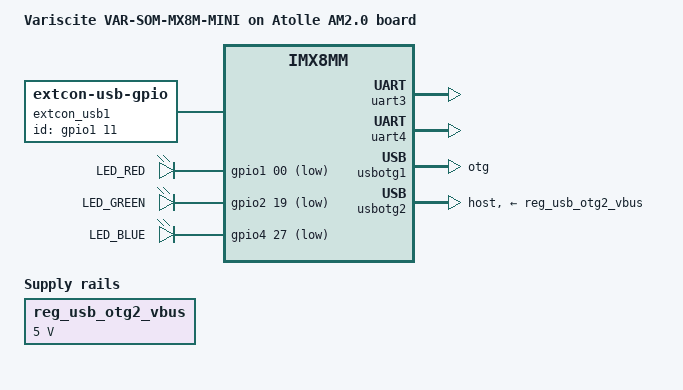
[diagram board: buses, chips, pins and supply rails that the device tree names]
// SPDX-License-Identifier: (GPL-2.0+ OR MIT)
/*
 * Copyright 2019 NXP
 * Copyright 2019-2020 Variscite Ltd.
 */

/dts-v1/;

#include <dt-bindings/usb/pd.h>
#include "imx8mm-var-som.dtsi"

/ {
	model = "Variscite VAR-SOM-MX8M-MINI on Atolle AM2.0 board";
	compatible = "variscite,dart-mx8mm", "fsl,imx8mm";

	chosen {
		stdout-path = &uart4;
	};

	reg_usb_otg2_vbus: regulator-usb-otg2-vbus {
		compatible = "regulator-fixed";
		regulator-name = "usb_otg2_vbus";
		regulator-min-microvolt = <5000000>;
		regulator-max-microvolt = <5000000>;
	};

	extcon_usb1: extcon_usb1 {
		compatible = "linux,extcon-usb-gpio";
		pinctrl-names = "default";
		pinctrl-0 = <&pinctrl_extcon>;
		id-gpio = <&gpio1 11 GPIO_ACTIVE_HIGH>;
		status = "okay";
	};

	leds {
		compatible = "gpio-leds";
		status = "okay";

		led_red {
			label = "LED_RED";
			gpios = <&gpio1 00 GPIO_ACTIVE_LOW>;
			default-state = "off";
		};

		led_green {
			label = "LED_GREEN";
			gpios = <&gpio2 19 GPIO_ACTIVE_LOW>;
			default-state = "on";
		};

		led_blue {
			label = "LED_BLUE";
			gpios = <&gpio4 27 GPIO_ACTIVE_LOW>;
			default-state = "on";
		};
	};

	a53_opp_table: opp-table {
                opp-600000000 {
                        opp-hz = /bits/ 64 <600000000>;
                        opp-microvolt = <850000>;
                        opp-supported-hw = <0xe>, <0x7>;
                        clock-latency-ns = <150000>;
                        opp-suspend;
                };

                opp-800000000 {
                        opp-hz = /bits/ 64 <800000000>;
                        opp-microvolt = <850000>;
                        opp-supported-hw = <0xe>, <0x7>;
                        clock-latency-ns = <150000>;
                        opp-suspend;
                };

                opp-1000000000 {
                        opp-hz = /bits/ 64 <1000000000>;
                        opp-microvolt = <850000>;
                        opp-supported-hw = <0xe>, <0x7>;
                        clock-latency-ns = <150000>;
                        opp-suspend;
                };

                opp-1400000000 {
                        opp-hz = /bits/ 64 <1400000000>;
                        opp-microvolt = <850000>;
                        opp-supported-hw = <0xe>, <0x7>;
                        clock-latency-ns = <150000>;
                        opp-suspend;
                };
        };

	/delete-node/ thermal-zones;

	thermal-zones {
		cpu-thermal {
			polling-delay-passive = <250>;
			polling-delay = <2000>;
			thermal-sensors = <&tmu>;
			trips {
				cpu_alert0: trip0 {
					temperature = <79000>;
					hysteresis = <2000>;
					type = "passive";
				};
		
				cpu_alert1: trip1 {
					temperature = <82000>;
					hysteresis = <2000>;
					type = "passive";
				};
		
				cpu_alert2: trip2 {
					temperature = <85000>;
					hysteresis = <2000>;
					type = "passive";
				};
		
				cpu_alert3: trip3 {
					temperature = <88000>;
					hysteresis = <2000>;
					type = "passive";
				};
		
				cpu_alert4: trip4 {
					temperature = <91000>;
					hysteresis = <2000>;
					type = "passive";
				};
		
				cpu_crit0: trip5 {
					temperature = <95000>;
					hysteresis = <2000>;
					type = "critical";
				};
			};
		
			cooling-maps {
			/* We have 7 OPPs of: 600MHz, 800MHz, 1GHz, 1.2GHz, 1.4GHz, 1.6GHz and 1.8GHz.
			   Minimum cooling state (0) includes all operating points, the maximum cooling
			   state (6) only includes the lowest operating point (600 MHz).
			*/
				map0 {
					// 79C trip: max OPP is at 1.6GHz (1)
					trip = <&cpu_alert0>;
					cooling-device =
						<&A53_0 THERMAL_NO_LIMIT 1>,
						<&A53_1 THERMAL_NO_LIMIT 1>,
						<&A53_2 THERMAL_NO_LIMIT 1>,
						<&A53_3 THERMAL_NO_LIMIT 1>;
				};
		
				map1 {
					// 82C trip: max OPP is at 1.2 GHz (3)
					trip = <&cpu_alert1>;
					cooling-device =
						<&A53_0 THERMAL_NO_LIMIT 3>,
						<&A53_1 THERMAL_NO_LIMIT 3>,
						<&A53_2 THERMAL_NO_LIMIT 3>,
						<&A53_3 THERMAL_NO_LIMIT 3>;
				};
				map2 {
					// 85C trip: max OPP is at 1.0GHz (4)
					trip = <&cpu_alert2>;
					cooling-device =
						<&A53_0 THERMAL_NO_LIMIT 4>,
						<&A53_1 THERMAL_NO_LIMIT 4>,
						<&A53_2 THERMAL_NO_LIMIT 4>,
						<&A53_3 THERMAL_NO_LIMIT 4>;
				};
				map3 {
					// 88C trip: max OPP is at 800 MHz (5)
					trip = <&cpu_alert3>;
					cooling-device =
						<&A53_0 THERMAL_NO_LIMIT 5>,
						<&A53_1 THERMAL_NO_LIMIT 5>,
						<&A53_2 THERMAL_NO_LIMIT 5>,
						<&A53_3 THERMAL_NO_LIMIT 5>;
				};
				map4 {
					// 91C trip: max OPP is at 600MHz (6)
					trip = <&cpu_alert4>;
					cooling-device =
						<&A53_0 THERMAL_NO_LIMIT 6>,
						<&A53_1 THERMAL_NO_LIMIT 6>,
						<&A53_2 THERMAL_NO_LIMIT 6>,
						<&A53_3 THERMAL_NO_LIMIT 6>;
				};
			};
		};
	};

};

&iomuxc {
	pinctrl_led: led_pin {
		/* Definition of the GPIOs connected to the LEDs on the adapter board,
		 for full overview of the description of the register values see the 
		 iMX8M Reference Manual. */
		fsl,pins = <
			/* Enable the pull resistor (bit 8) and set it to a
			 pull down (bit 6) */
			MX8MM_IOMUXC_GPIO1_IO00_GPIO1_IO0		0x100
			MX8MM_IOMUXC_SD2_RESET_B_GPIO2_IO19		0x100
			MX8MM_IOMUXC_SAI2_MCLK_GPIO4_IO27		0x100
		>;
	};

	pinctrl_imxrt_reset_n: imxrt_reset {
		fsl,pins = <
			/* Enable pull resistor (8) and set tp pull up (6) */
			MX8MM_IOMUXC_SAI3_TXD_GPIO5_IO1			0x140
    	>;
    };

	pinctrl_uart3: uart3grp {
		fsl,pins = <
			MX8MM_IOMUXC_UART3_RXD_UART3_DTE_TX		0x140
			MX8MM_IOMUXC_UART3_TXD_UART3_DTE_RX		0x140
		>;
	};

	pinctrl_uart4: uart4grp {
		fsl,pins = <
			MX8MM_IOMUXC_UART4_RXD_UART4_DCE_RX		0x140
			MX8MM_IOMUXC_UART4_TXD_UART4_DCE_TX		0x140
		>;
	};

	pinctrl_extcon: extcongrp {
		fsl,pins = <
			MX8MM_IOMUXC_GPIO1_IO11_GPIO1_IO11		0x16
		>;
	};
};

/* IMXRT UART */
&uart3 {
	pinctrl-names = "default";
	pinctrl-0 = <&pinctrl_uart3>;
	status = "okay";
	/* Set the UART to Date Terminal Equipment mode */
	fsl,dte-mode;
};

/* DEBUG Console */
&uart4 {
	pinctrl-names = "default";
	pinctrl-0 = <&pinctrl_uart4>;
	status = "okay";
};

&usbotg1 {
	dr_mode = "otg";
	picophy,pre-emp-curr-control = <3>;
	picophy,dc-vol-level-adjust = <7>;
	hnp-disable;
	srp-disable;
	adp-disable;
	extcon = <0>, <&extcon_usb1>;
	status = "okay";
};

&usbotg2 {
	dr_mode = "host";
	vbus-supply = <&reg_usb_otg2_vbus>;
	picophy,pre-emp-curr-control = <3>;
	picophy,dc-vol-level-adjust = <7>;
	disable-over-current;
	status = "okay";
};
